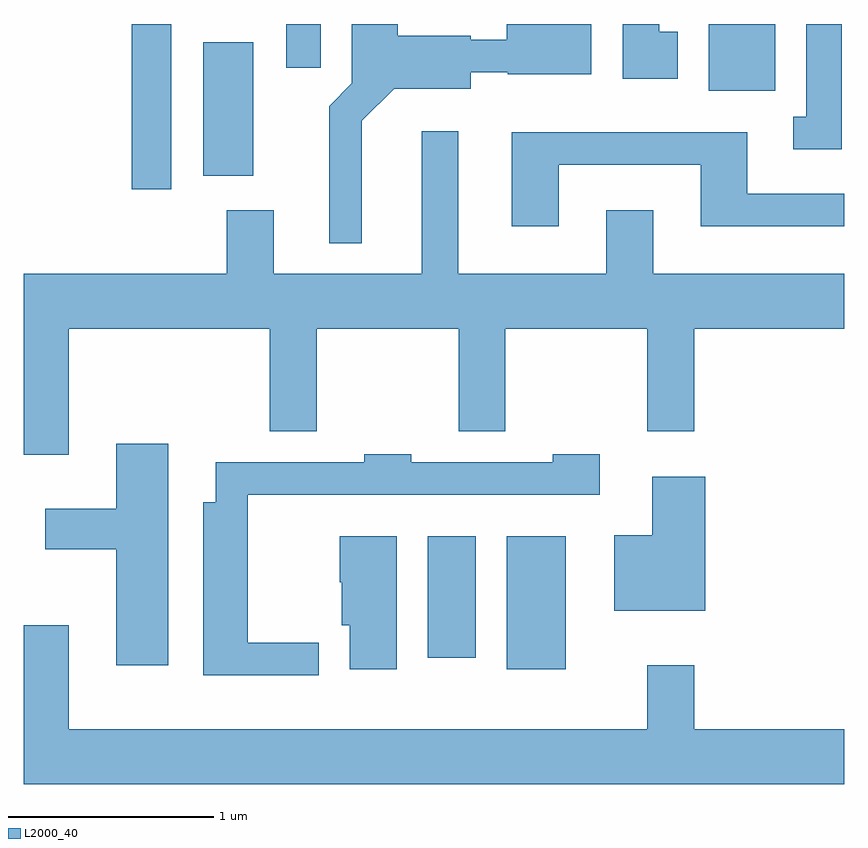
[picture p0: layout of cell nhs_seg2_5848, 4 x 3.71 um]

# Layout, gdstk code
import gdstk
lib = gdstk.Library(unit=1e-6, precision=1e-09)
def R(c, l, rs):  # rectangles x0, y0, x1, y1
    for r in rs: c.add(gdstk.rectangle(r[:2], r[2:], *l))
def P(c, l, *ps):  # polygons
    for p in ps: c.add(gdstk.Polygon(p, *l))
L2000_40 = (2000, 40)

nhs_seg2_5848 = lib.new_cell('nhs_seg2_5848')
R(nhs_seg2_5848, L2000_40, [(359.966,1046.656,360.254,1047.304), (359.581,1046.711,359.814,1047.304), (358.136,1048.996,358.329,1049.802), (358.486,1049.061,358.729,1049.714), (360.951,1049.476,361.274,1049.802), (358.891,1049.588,359.059,1049.802)])
P(nhs_seg2_5848, L2000_40, [(359.259,1049.329),(359.417,1049.486),(359.789,1049.486),(359.789,1049.566),(359.97,1049.566),(359.97,1049.556),(360.379,1049.556),(360.379,1049.802),(359.966,1049.802),(359.966,1049.724),(359.789,1049.724),(359.789,1049.744),(359.434,1049.744),(359.434,1049.802),(359.211,1049.802),(359.211,1049.512),(359.101,1049.402),(359.101,1048.733),(359.259,1048.733)],
  [(360.799,1049.764),(360.709,1049.764),(360.709,1049.802),(360.531,1049.802),(360.531,1049.536),(360.799,1049.536)],
  [(361.599,1049.802),(361.426,1049.802),(361.426,1049.349),(361.363,1049.349),(361.363,1049.191),(361.599,1049.191)],
  [(360.651,1047.816),(360.879,1047.816),(360.879,1048.316),(361.611,1048.316),(361.611,1048.584),(360.679,1048.584),(360.679,1048.894),(360.451,1048.894),(360.451,1048.584),(359.729,1048.584),(359.729,1049.279),(359.551,1049.279),(359.551,1048.584),(358.829,1048.584),(358.829,1048.894),(358.601,1048.894),(358.601,1048.584),(357.611,1048.584),(357.611,1047.701),(357.829,1047.701),(357.829,1048.316),(358.811,1048.316),(358.811,1047.816),(359.039,1047.816),(359.039,1048.316),(359.731,1048.316),(359.731,1047.816),(359.959,1047.816),(359.959,1048.316),(360.651,1048.316)],
  [(360.219,1049.116),(360.911,1049.116),(360.911,1048.816),(361.611,1048.816),(361.611,1048.974),(361.139,1048.974),(361.139,1049.274),(359.991,1049.274),(359.991,1048.816),(360.219,1048.816)],
  [(358.314,1047.754),(358.061,1047.754),(358.061,1047.439),(357.716,1047.439),(357.716,1047.241),(358.061,1047.241),(358.061,1046.676),(358.314,1046.676)],
  [(359.048,1046.784),(358.704,1046.784),(358.704,1047.506),(360.419,1047.506),(360.419,1047.704),(360.191,1047.704),(360.191,1047.664),(359.499,1047.664),(359.499,1047.704),(359.271,1047.704),(359.271,1047.664),(358.546,1047.664),(358.546,1047.469),(358.486,1047.469),(358.486,1046.626),(359.048,1046.626)],
  [(360.934,1047.594),(360.676,1047.594),(360.676,1047.309),(360.491,1047.309),(360.491,1046.941),(360.934,1046.941)],
  [(359.429,1047.304),(359.151,1047.304),(359.151,1047.08),(359.161,1047.08),(359.161,1046.871),(359.201,1046.871),(359.201,1046.656),(359.429,1046.656)],
  [(361.611,1046.364),(360.879,1046.364),(360.879,1046.674),(360.651,1046.674),(360.651,1046.364),(357.829,1046.364),(357.829,1046.869),(357.611,1046.869),(357.611,1046.096),(361.611,1046.096)])

lib.write_gds('nhs_seg2_5848.gds')
